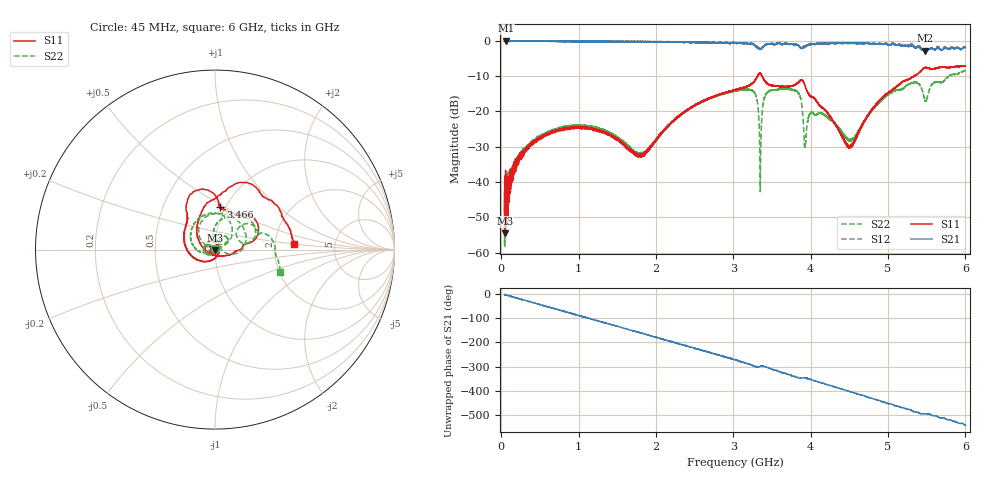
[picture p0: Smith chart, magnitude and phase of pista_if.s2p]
!Agilent Technologies,E8364A,US41440144,A.06.04.32
!Agilent E8364A: A.06.04.32
!Date: Monday, February 26, 2018 15:04:02
!Correction: S11(Full 2 Port(1,2)) S21(Full 2 Port(1,2)) S12(Full 2 Port(1,2)) S22(Full 2 Port(1,2))
!S2P File: Measurements: S11, S21, S12, S22:
# Hz S  dB  R 50
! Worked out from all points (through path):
!   16001 points, 45 MHz to 6 GHz, reference 50 ohm
!   highest |S21| = 0.01 dB at 63.24 MHz (marker M1); lowest = -2.8 dB at 5.479 GHz (marker M2)
!   group delay of S21, straight-line fit = 249 ps
!   lowest |S11| = -54.5 dB at 46.12 MHz (marker M3), VSWR 1.00, Z = 49.9 - j0.135 ohm
!   |S11| at or under -10 dB: start of sweep to 3.314 GHz; 3.314631 GHz to 3.315064 GHz (432.5 kHz wide, 0.013 % of centre); 3.374 GHz to 5.34 GHz (1.966 GHz wide, 45.1 % of centre)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
!   |S22| runs from -58.2 to -8.3 dB; largest |S21 - S12| = 0.057
!   S11 on the Smith chart (normalised r, x): 45 MHz: 0.99, -0.00; 3.466 GHz: 0.94, +0.48; 6 GHz: 2.56, +0.21
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4.5e7  -48.46 -144.1  -0.06 -4.1  -0.01 -4.3  -57.98 125.5
4.611656e7  -54.54 -133.8  -0.02 -4.7  0.08 -4.2  -48.85 -23.3
6.323719e7  -41.09 -84.1  0.01 -6.0  -0.01 -6.2  -43.64 -50.7
1.514456e8  -39.57 -105.4  -0.05 -13.9  0.02 -13.9  -36.95 -103.7
3.639647e8  -29.68 -131.4  -0.13 -33.1  -0.09 -32.9  -29.65 -124.5
1.037624e9  -24.63 151.7  -0.20 -93.1  -0.18 -92.9  -24.17 172.1
1.780138e9  -32.52 5.7  -0.27 -159.4  -0.26 -159.4  -31.92 161.8
2.030248e9  -27.19 -83.4  -0.34 178.1  -0.30 178.3  -27.39 -162.7
2.589646e9  -17.29 -165.9  -0.52 127.8  -0.43 127.1  -17.43 164.1
3.0225e9  -13.91 147.0  -0.63 88.0  -0.65 87.5  -14.21 117.5
3.271493e9  -11.49 126.7  -1.21 61.8  -1.14 60.7  -14.64 69.1
3.350025e9  -9.22 102.3  -2.42 61.7  -2.24 61.1  -40.92 111.4
3.402131e9  -11.21 86.4  -1.36 61.2  -1.34 62.8  -16.23 125.0
3.465775e9  -12.40 82.8  -0.91 53.2  -0.89 54.3  -14.21 100.2
3.831263e9  -11.94 51.3  -1.23 15.3  -1.11 15.6  -14.53 24.2
3.932126e9  -13.02 13.3  -1.58 14.3  -1.38 13.6  -29.43 42.9
4.015124e9  -15.95 9.3  -1.03 5.8  -0.87 5.6  -20.32 48.7
4.504551e9  -29.85 -109.6  -0.72 -41.5  -0.63 -41.9  -28.07 60.3
5.007748e9  -14.64 120.2  -1.22 -91.0  -1.14 -90.3  -15.09 77.1
5.349416e9  -9.82 82.3  -1.96 -124.8  -1.90 -125.7  -11.74 33.2
5.478565e9  -7.63 63.2  -2.83 -133.2  -2.49 -132.2  -16.93 20.4
6e9  -7.11 4.4  -2.01 179.1  -1.94 177.6  -8.39 -19.3
